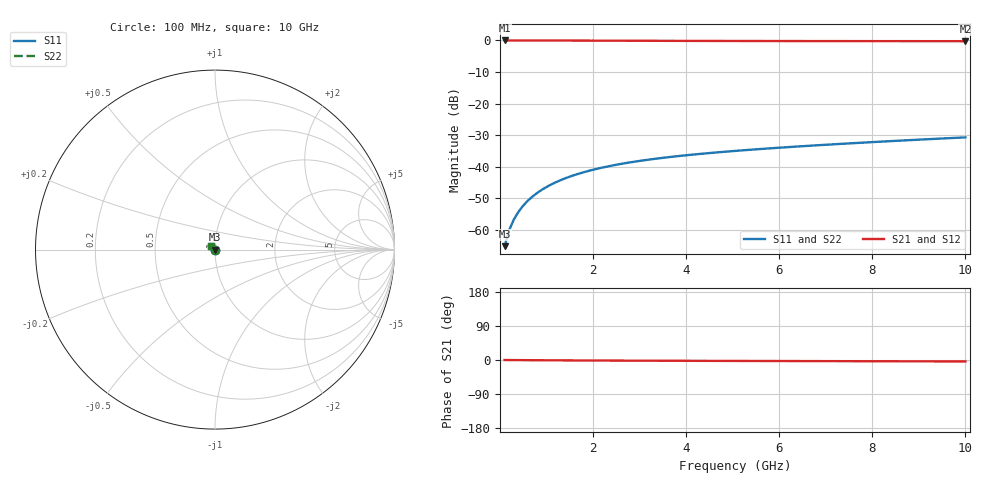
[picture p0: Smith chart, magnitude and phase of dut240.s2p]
! Touchstone file exported from HFSS 2024.1.0
!  File:  C:/UserFiles/LocalFiles/RDL_TSV_Batchsim/temp_TSV1_240_1779389463.aedt
!  Generated:  02:56:57 AM May 22, 2026
!  Design:  TSV1
!  Project:  temp_TSV1_240_1779389463
!  Setup:  Setup1
!  Solution:  Sweep
! Variables:
!  dtsv = 6.38um
!  hbump = 3um
!  htsv = 52.66um
!  lrdl = 252.1521522um
!  p = 40
!  p1 = 52.26um
!  t = 500um
!  trdl = 3um
!  wrdl = 24.89489489um
# GHz S MA R 50.000000
! Terminal data exported
! Port[1] = TSV22_T1
! Port[2] = TSV22_T2
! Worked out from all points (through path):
!   100 points, 100 MHz to 10 GHz, reference 50 ohm
!   highest |S21| = 0.00 dB at 100 MHz (marker M1); lowest = -0.2 dB at 10 GHz (marker M2)
!   lowest |S11| = -65.1 dB at 100 MHz (marker M3), VSWR 1.00, Z = 50 - j0.0495 ohm
!   |S11| at or under -10 dB: start of sweep to end of sweep
!   |S22| runs from -65.1 to -30.7 dB; largest |S21 - S12| = 4.4e-15
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0.1  0.0005559 -63.0  0.9997 -0.1  0.9997 -0.1  0.0005559 -63.0
! Gamma 0 0 0 0
! Port Impedance 50 0 50 0
0.2  0.001006 -79.3  0.9996 -0.2  0.9996 -0.2  0.001006 -79.3
0.3  0.001479 -87.0  0.9995 -0.2  0.9995 -0.2  0.001479 -87.0
0.4  0.001958 -92.1  0.9994 -0.3  0.9994 -0.3  0.001958 -92.1
0.5  0.002439 -96.1  0.9992 -0.4  0.9992 -0.4  0.002439 -96.1
0.6  0.002919 -99.5  0.9989 -0.5  0.9989 -0.5  0.002919 -99.5
0.7  0.003396 -102.6  0.9986 -0.5  0.9986 -0.5  0.003396 -102.6
0.8  0.003869 -105.5  0.9983 -0.6  0.9983 -0.6  0.003869 -105.5
0.9  0.004337 -108.2  0.998 -0.7  0.998 -0.7  0.004337 -108.2
1.1  0.005254 -113.3  0.9973 -0.8  0.9973 -0.8  0.005254 -113.3
1.4  0.006575 -120.4  0.996 -1.0  0.996 -1.0  0.006575 -120.4
1.6  0.007415 -124.9  0.9951 -1.1  0.9951 -1.1  0.007415 -124.9
1.8  0.008223 -129.2  0.9941 -1.2  0.9941 -1.2  0.008223 -129.2
2.1  0.009372 -135.4  0.9926 -1.4  0.9926 -1.4  0.009372 -135.4
2.5  0.01079 -143.0  0.9906 -1.6  0.9906 -1.6  0.01079 -143.0
2.9  0.0121 -150.1  0.9887 -1.8  0.9887 -1.8  0.0121 -150.1
3.4  0.0136 -158.1  0.9864 -2.0  0.9864 -2.0  0.0136 -158.1
4.2  0.01577 -169.5  0.9833 -2.2  0.9833 -2.2  0.01577 -169.5
5.1  0.01799 179.8  0.9806 -2.5  0.9806 -2.5  0.01799 179.8
6.7  0.02168 164.6  0.9771 -2.9  0.9771 -2.9  0.02168 164.6
8.4  0.02554 152.6  0.9747 -3.4  0.9747 -3.4  0.02554 152.6
10  0.02926 143.8  0.9731 -3.8  0.9731 -3.8  0.02926 143.8
